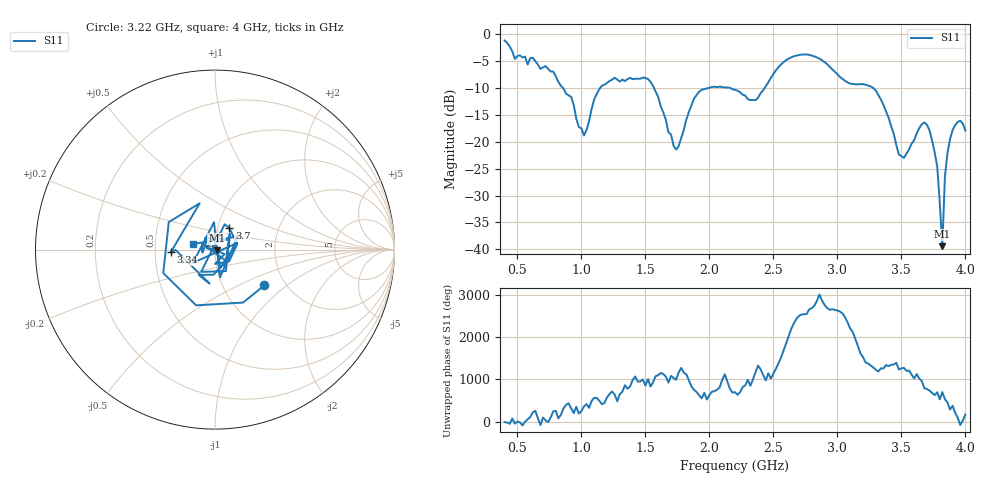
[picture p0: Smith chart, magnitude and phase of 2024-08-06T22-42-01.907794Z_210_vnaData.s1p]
!Created with skrf (http://scikit-rf.org).
# Hz S RI R 50.0
!freq ReS11 ImS11
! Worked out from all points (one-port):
!   181 points, 400 MHz to 4 GHz, reference 50 ohm
!   lowest |S11| = -39.4 dB at 3.82 GHz (marker M1), VSWR 1.02, Z = 51 - j0.373 ohm
!   |S11| at or under -10 dB: 856.7 MHz to 1.146 GHz (289.4 MHz wide, 28.9 % of centre); 1.567 GHz to 1.991 GHz (423.3 MHz wide, 23.8 % of centre); 3.28 GHz to end of sweep (the widest 3 of 4)
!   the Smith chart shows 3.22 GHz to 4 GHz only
!   S11 on the Smith chart (normalised r, x): 3.22 GHz: 1.56, -0.70; 3.34 GHz: 0.60, -0.02; 3.7 GHz: 1.14, +0.28; 4 GHz: 0.78, +0.05
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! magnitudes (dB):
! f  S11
! 400 MHz  -1.1
! 480 MHz  -4.6
! 620 MHz  -4.4
! 860 MHz  -10.1
! 920 MHz  -11.6
! 1.02 GHz  -18.8
! 1.14 GHz  -10.2
! 1.3 GHz  -8.8
! 1.52 GHz  -8.3
! 1.72 GHz  -20.7
! 1.76 GHz  -20.8
! 1.92 GHz  -10.7
! 2.2 GHz  -10.3
! 2.36 GHz  -12.3
! 2.66 GHz  -4.1
! 2.84 GHz  -4.3
! 3.1 GHz  -9.2
! 3.22 GHz  -9.4
! 3.34 GHz  -12.1
! 3.48 GHz  -22.3
! 3.56 GHz  -21.4
! 3.7 GHz  -16.8
! 3.78 GHz  -24.6
! 3.82 GHz  -39.4
! 3.84 GHz  -26.4
! 3.88 GHz  -19.5
! 3.94 GHz  -16.3
! 4 GHz  -17.9
